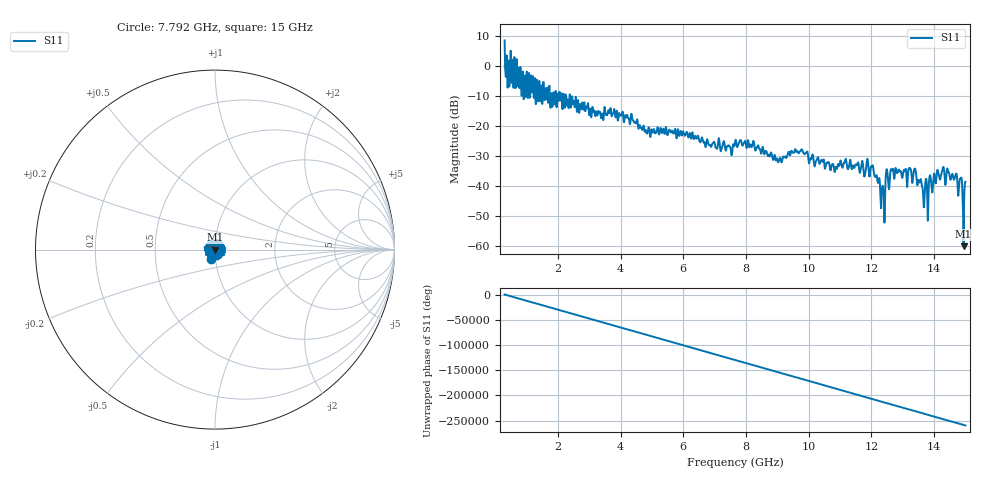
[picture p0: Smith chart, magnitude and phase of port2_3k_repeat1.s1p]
# GHZ S RI R 50.0
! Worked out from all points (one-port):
!   12801 points, 300 MHz to 15 GHz, reference 50 ohm
!   lowest |S11| = -60.1 dB at 14.94 GHz (marker M1), VSWR 1.00, Z = 50 - j0.095 ohm
!   |S11| at or under -10 dB: 2.26 GHz to 2.372 GHz (112.6 MHz wide, 4.86 % of centre); 2.386 GHz to 2.451 GHz (64.79 MHz wide, 2.68 % of centre); 2.452 GHz to end of sweep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
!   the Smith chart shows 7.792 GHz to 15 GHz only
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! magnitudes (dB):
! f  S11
! 300 MHz  8.6
! 396.5 MHz  -7.1
! 746.7 MHz  -0.5
! 904.1 MHz  -10.6
! 1.14 GHz  -3.1
! 2.138 GHz  -14.0
! 3.975 GHz  -16.4
! 4.894 GHz  -20.5
! 5.812 GHz  -22.2
! 7.505 GHz  -27.2
! 7.65 GHz  -25.6
! 8.202 GHz  -26.4
! 9.08 GHz  -30.6
! 9.488 GHz  -28.8
! 10.85 GHz  -34.3
! 11.32 GHz  -31.2
! 12.04 GHz  -33.1
! 12.36 GHz  -40.0
! 12.51 GHz  -35.4
! 12.65 GHz  -34.8
! 13.16 GHz  -37.3
! 13.39 GHz  -34.3
! 13.74 GHz  -37.7
! 14.06 GHz  -38.7
! 14.46 GHz  -35.3
! 14.84 GHz  -37.5
! 14.94 GHz  -60.1
! 15 GHz  -38.6
